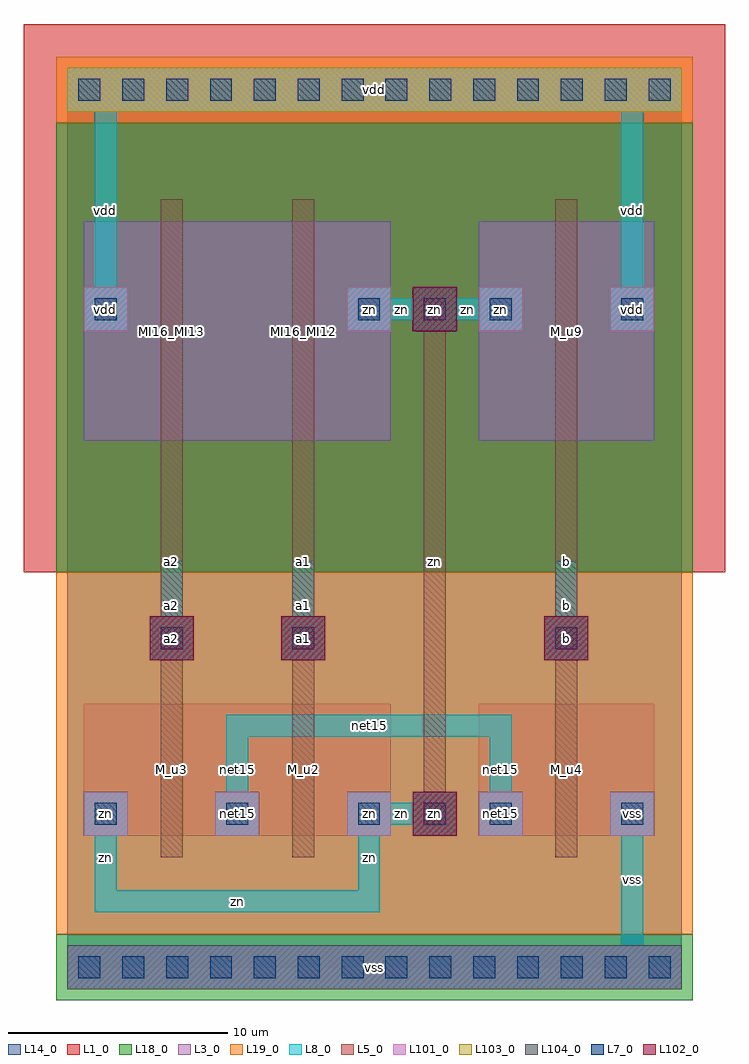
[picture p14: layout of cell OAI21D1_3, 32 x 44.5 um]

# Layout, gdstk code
import gdstk
lib = gdstk.Library(unit=1e-6, precision=1e-09)
def R(c, l, rs):  # rectangles x0, y0, x1, y1
    for r in rs: c.add(gdstk.rectangle(r[:2], r[2:], *l))
def A(c, l, x, y, w, h, nx, ny, dx, dy):  # array of equal rectangles
    R(c, l, [(x+i*dx, y+j*dy, x+i*dx+w, y+j*dy+h) for i in range(nx) for j in range(ny)])
L1_0 = (1, 0)
L3_0 = (3, 0)
L5_0 = (5, 0)
L7_0 = (7, 0)
L8_0 = (8, 0)
L13_0 = (13, 0)
L14_0 = (14, 0)
L18_0 = (18, 0)
L19_0 = (19, 0)
L101_0 = (101, 0)
L102_0 = (102, 0)
L103_0 = (103, 0)
L104_0 = (104, 0)

oai21d1_3 = lib.new_cell('OAI21D1_3')
R(oai21d1_3, L1_0, [(-2,18,30,43)])
A(oai21d1_3, L3_0, 0.75, 6, 2, 2, 5, 1, 6, 0)
A(oai21d1_3, L3_0, 12.75, 29, 2, 2, 3, 1, 6, 0)
R(oai21d1_3, L3_0, [(0,-1,28,1), (0,-1,28,1), (0.75,6,8.75,12), (6.75,6,14.75,12), (18.75,6,26.75,12), (0.75,24,8.75,34), (6.75,24,14.75,34), (18.75,24,26.75,34), (0.75,29,2.75,31), (0,39,28,41), (0,39,28,41)])
A(oai21d1_3, L5_0, 4.25, 6.5, 1, 24, 4, 1, 6, 0)
R(oai21d1_3, L5_0, [(4.25,5,5.25,13), (10.25,5,11.25,13), (22.25,5,23.25,13), (15.75,6,17.75,8), (3.75,14,5.75,16), (9.75,14,11.75,16), (21.75,14,23.75,16), (4.25,23,5.25,35), (10.25,23,11.25,35), (22.25,23,23.25,35), (15.75,29,17.75,31)])
A(oai21d1_3, L7_0, 0.5, -0.5, 1, 1, 14, 2, 2, 40)
A(oai21d1_3, L7_0, 1.25, 6.5, 1, 1, 3, 1, 6, 0)
A(oai21d1_3, L7_0, 13.25, 29.5, 1, 1, 3, 1, 3, 0)
R(oai21d1_3, L7_0, [(16.25,6.5,17.25,7.5), (19.25,6.5,20.25,7.5), (25.25,6.5,26.25,7.5), (4.25,14.5,5.25,15.5), (10.25,14.5,11.25,15.5), (22.25,14.5,23.25,15.5), (1.25,29.5,2.25,30.5), (25.25,29.5,26.25,30.5)])
A(oai21d1_3, L8_0, 0.75, 6, 2, 2, 3, 1, 6, 0)
A(oai21d1_3, L8_0, 12.75, 29, 2, 2, 3, 1, 3, 0)
R(oai21d1_3, L8_0, [(0,-1,28,1), (25.25,0.5,26.25,7.5), (1.25,2.5,2.25,7.5), (1.25,2.5,14.25,3.5), (13.25,2.5,14.25,7.5), (15.75,6,17.75,8), (18.75,6,20.75,8), (24.75,6,26.75,8), (7.25,6.5,8.25,11.5), (13.25,6.5,17.25,7.5), (19.25,6.5,20.25,11.5), (7.25,10.5,20.25,11.5), (3.75,14,5.75,16), (9.75,14,11.75,16), (21.75,14,23.75,16), (4.25,14.5,5.25,18.5), (10.25,14.5,11.25,18.5), (22.25,14.5,23.25,18.5), (0.75,29,2.75,31), (24.75,29,26.75,31), (1.25,29.5,2.25,39.5), (13.25,29.5,17.25,30.5), (16.25,29.5,20.25,30.5), (25.25,29.5,26.25,39.5), (0,39,28,41)])
R(oai21d1_3, L14_0, [(0,0,28,40)])
R(oai21d1_3, L18_0, [(-0.5,-1.5,28.5,1.5), (-0.5,18,28.5,38.5)])
R(oai21d1_3, L19_0, [(-0.5,1.5,28.5,18), (-0.5,38.5,28.5,41.5)])
A(oai21d1_3, L101_0, 0, -1, 2, 2, 14, 2, 2, 40)
A(oai21d1_3, L101_0, 0.75, 6, 2, 2, 5, 1, 6, 0)
A(oai21d1_3, L101_0, 12.75, 29, 2, 2, 3, 1, 6, 0)
R(oai21d1_3, L101_0, [(0.75,29,2.75,31)])
R(oai21d1_3, L102_0, [(15.75,6,17.75,8), (3.75,14,5.75,16), (9.75,14,11.75,16), (21.75,14,23.75,16), (15.75,29,17.75,31)])
R(oai21d1_3, L103_0, [(0,39,28,41)])
R(oai21d1_3, L104_0, [(0,-1,28,1)])
oai21d1_3.add(gdstk.FlexPath([(0.75,3),(26.75,3)], 0, ends="flush", simple_path=True, layer=13, datatype=0))  # L13_0
oai21d1_3.add(gdstk.FlexPath([(0.75,7),(26.75,7)], 0, ends="flush", simple_path=True, layer=13, datatype=0))  # L13_0
oai21d1_3.add(gdstk.FlexPath([(0.75,11),(26.75,11)], 0, ends="flush", simple_path=True, layer=13, datatype=0))  # L13_0
oai21d1_3.add(gdstk.FlexPath([(0.75,15),(26.75,15)], 0, ends="flush", simple_path=True, layer=13, datatype=0))  # L13_0
oai21d1_3.add(gdstk.FlexPath([(0.75,18),(26.75,18)], 0, ends="flush", simple_path=True, layer=13, datatype=0))  # L13_0
oai21d1_3.add(gdstk.FlexPath([(0.75,21),(26.75,21)], 0, ends="flush", simple_path=True, layer=13, datatype=0))  # L13_0
oai21d1_3.add(gdstk.FlexPath([(0.75,25),(26.75,25)], 0, ends="flush", simple_path=True, layer=13, datatype=0))  # L13_0
oai21d1_3.add(gdstk.FlexPath([(0.75,30),(26.75,30)], 0, ends="flush", simple_path=True, layer=13, datatype=0))  # L13_0
oai21d1_3.add(gdstk.FlexPath([(0.75,33),(26.75,33)], 0, ends="flush", simple_path=True, layer=13, datatype=0))  # L13_0
oai21d1_3.add(gdstk.FlexPath([(0.75,37),(26.75,37)], 0, ends="flush", simple_path=True, layer=13, datatype=0))  # L13_0
oai21d1_3.add(gdstk.FlexPath([(1.75,0.5),(1.75,39.5)], 0, ends="flush", simple_path=True, layer=13, datatype=0))  # L13_0
oai21d1_3.add(gdstk.FlexPath([(4.75,0.5),(4.75,39.5)], 0, ends="flush", simple_path=True, layer=13, datatype=0))  # L13_0
oai21d1_3.add(gdstk.FlexPath([(7.75,0.5),(7.75,39.5)], 0, ends="flush", simple_path=True, layer=13, datatype=0))  # L13_0
oai21d1_3.add(gdstk.FlexPath([(10.75,0.5),(10.75,39.5)], 0, ends="flush", simple_path=True, layer=13, datatype=0))  # L13_0
oai21d1_3.add(gdstk.FlexPath([(13.75,0.5),(13.75,39.5)], 0, ends="flush", simple_path=True, layer=13, datatype=0))  # L13_0
oai21d1_3.add(gdstk.FlexPath([(16.75,0.5),(16.75,39.5)], 0, ends="flush", simple_path=True, layer=13, datatype=0))  # L13_0
oai21d1_3.add(gdstk.FlexPath([(19.75,0.5),(19.75,39.5)], 0, ends="flush", simple_path=True, layer=13, datatype=0))  # L13_0
oai21d1_3.add(gdstk.FlexPath([(22.75,0.5),(22.75,39.5)], 0, ends="flush", simple_path=True, layer=13, datatype=0))  # L13_0
oai21d1_3.add(gdstk.FlexPath([(25.75,0.5),(25.75,39.5)], 0, ends="flush", simple_path=True, layer=13, datatype=0))  # L13_0
oai21d1_3.add(gdstk.Label('M_u2', (10.75,9), layer=3, texttype=0))
oai21d1_3.add(gdstk.Label('M_u3', (4.75,9), layer=3, texttype=0))
oai21d1_3.add(gdstk.Label('M_u4', (22.75,9), layer=3, texttype=0))
oai21d1_3.add(gdstk.Label('MI16_MI12', (10.75,29), layer=3, texttype=0))
oai21d1_3.add(gdstk.Label('M_u9', (22.75,29), layer=3, texttype=0))
oai21d1_3.add(gdstk.Label('MI16_MI13', (4.75,29), layer=3, texttype=0))
oai21d1_3.add(gdstk.Label('zn', (13.75,7), layer=3, texttype=0))
oai21d1_3.add(gdstk.Label('zn', (1.75,7), layer=3, texttype=0))
oai21d1_3.add(gdstk.Label('zn', (13.75,30), layer=3, texttype=0))
oai21d1_3.add(gdstk.Label('zn', (19.75,30), layer=3, texttype=0))
oai21d1_3.add(gdstk.Label('net15', (7.75,7), layer=3, texttype=0))
oai21d1_3.add(gdstk.Label('net15', (19.75,7), layer=3, texttype=0))
oai21d1_3.add(gdstk.Label('vss', (25.75,7), layer=3, texttype=0))
oai21d1_3.add(gdstk.Label('vdd', (25.75,30), layer=3, texttype=0))
oai21d1_3.add(gdstk.Label('vdd', (1.75,30), layer=3, texttype=0))
oai21d1_3.add(gdstk.Label('zn', (16.75,7), layer=5, texttype=0))
oai21d1_3.add(gdstk.Label('zn', (16.75,18.5), layer=5, texttype=0))
oai21d1_3.add(gdstk.Label('zn', (16.75,30), layer=5, texttype=0))
oai21d1_3.add(gdstk.Label('a1', (10.75,18.5), layer=5, texttype=0))
oai21d1_3.add(gdstk.Label('a1', (10.75,15), layer=5, texttype=0))
oai21d1_3.add(gdstk.Label('a2', (4.75,18.5), layer=5, texttype=0))
oai21d1_3.add(gdstk.Label('a2', (4.75,15), layer=5, texttype=0))
oai21d1_3.add(gdstk.Label('b', (22.75,18.5), layer=5, texttype=0))
oai21d1_3.add(gdstk.Label('b', (22.75,15), layer=5, texttype=0))
oai21d1_3.add(gdstk.Label('zn', (13.75,7), layer=101, texttype=0))
oai21d1_3.add(gdstk.Label('zn', (1.75,7), layer=101, texttype=0))
oai21d1_3.add(gdstk.Label('zn', (13.75,30), layer=101, texttype=0))
oai21d1_3.add(gdstk.Label('zn', (19.75,30), layer=101, texttype=0))
oai21d1_3.add(gdstk.Label('net15', (7.75,7), layer=101, texttype=0))
oai21d1_3.add(gdstk.Label('net15', (19.75,7), layer=101, texttype=0))
oai21d1_3.add(gdstk.Label('vss', (25.75,7), layer=101, texttype=0))
oai21d1_3.add(gdstk.Label('vdd', (25.75,30), layer=101, texttype=0))
oai21d1_3.add(gdstk.Label('vdd', (1.75,30), layer=101, texttype=0))
oai21d1_3.add(gdstk.Label('zn', (16.75,7), layer=102, texttype=0))
oai21d1_3.add(gdstk.Label('zn', (16.75,30), layer=102, texttype=0))
oai21d1_3.add(gdstk.Label('a1', (10.75,15), layer=102, texttype=0))
oai21d1_3.add(gdstk.Label('a2', (4.75,15), layer=102, texttype=0))
oai21d1_3.add(gdstk.Label('b', (22.75,15), layer=102, texttype=0))
oai21d1_3.add(gdstk.Label('zn', (13.75,7), layer=8, texttype=0))
oai21d1_3.add(gdstk.Label('zn', (1.75,7), layer=8, texttype=0))
oai21d1_3.add(gdstk.Label('zn', (13.75,30), layer=8, texttype=0))
oai21d1_3.add(gdstk.Label('zn', (19.75,30), layer=8, texttype=0))
oai21d1_3.add(gdstk.Label('zn', (15.25,7), layer=8, texttype=0))
oai21d1_3.add(gdstk.Label('zn', (16.75,7), layer=8, texttype=0))
oai21d1_3.add(gdstk.Label('zn', (16.75,30), layer=8, texttype=0))
oai21d1_3.add(gdstk.Label('zn', (15.25,30), layer=8, texttype=0))
oai21d1_3.add(gdstk.Label('zn', (18.25,30), layer=8, texttype=0))
oai21d1_3.add(gdstk.Label('zn', (1.75,5), layer=8, texttype=0))
oai21d1_3.add(gdstk.Label('zn', (7.75,3), layer=8, texttype=0))
oai21d1_3.add(gdstk.Label('zn', (13.75,5), layer=8, texttype=0))
oai21d1_3.add(gdstk.Label('a1', (10.75,15), layer=8, texttype=0))
oai21d1_3.add(gdstk.Label('a1', (10.75,16.5), layer=8, texttype=0))
oai21d1_3.add(gdstk.Label('net15', (7.75,7), layer=8, texttype=0))
oai21d1_3.add(gdstk.Label('net15', (19.75,7), layer=8, texttype=0))
oai21d1_3.add(gdstk.Label('net15', (7.75,9), layer=8, texttype=0))
oai21d1_3.add(gdstk.Label('net15', (13.75,11), layer=8, texttype=0))
oai21d1_3.add(gdstk.Label('net15', (19.75,9), layer=8, texttype=0))
oai21d1_3.add(gdstk.Label('a2', (4.75,15), layer=8, texttype=0))
oai21d1_3.add(gdstk.Label('a2', (4.75,16.5), layer=8, texttype=0))
oai21d1_3.add(gdstk.Label('b', (22.75,15), layer=8, texttype=0))
oai21d1_3.add(gdstk.Label('b', (22.75,16.5), layer=8, texttype=0))
oai21d1_3.add(gdstk.Label('vss', (25.75,7), layer=8, texttype=0))
oai21d1_3.add(gdstk.Label('vss', (25.75,4), layer=8, texttype=0))
oai21d1_3.add(gdstk.Label('vdd', (25.75,30), layer=8, texttype=0))
oai21d1_3.add(gdstk.Label('vdd', (25.75,34.5), layer=8, texttype=0))
oai21d1_3.add(gdstk.Label('vdd', (1.75,30), layer=8, texttype=0))
oai21d1_3.add(gdstk.Label('vdd', (1.75,34.5), layer=8, texttype=0))
oai21d1_3.add(gdstk.Label('vss', (14,0), layer=8, texttype=0))
oai21d1_3.add(gdstk.Label('vdd', (14,40), layer=8, texttype=0))

lib.write_gds('OAI21D1_3.gds')
